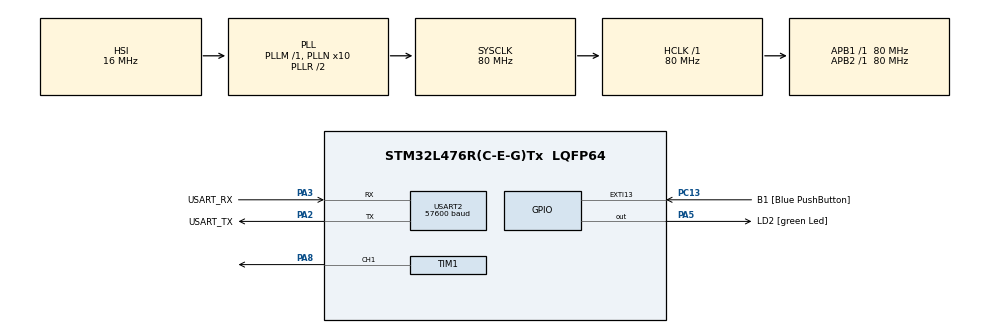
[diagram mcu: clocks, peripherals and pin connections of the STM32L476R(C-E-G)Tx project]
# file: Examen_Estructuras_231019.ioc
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Mcu.Family=STM32L4
Mcu.Name=STM32L476R(C-E-G)Tx
Mcu.Package=LQFP64
NVIC.PriorityGroup=NVIC_PRIORITYGROUP_4
NVIC.USART2_IRQn=true\:0\:0\:false\:false\:true\:true\:true\:true
PA13\ (JTMS-SWDIO).GPIO_Label=TMS
PA13\ (JTMS-SWDIO).Mode=Serial_Wire
PA13\ (JTMS-SWDIO).Signal=SYS_JTMS-SWDIO
PA14\ (JTCK-SWCLK).GPIO_Label=TCK
PA14\ (JTCK-SWCLK).Mode=Serial_Wire
PA14\ (JTCK-SWCLK).Signal=SYS_JTCK-SWCLK
PA2.GPIO_Label=USART_TX
PA2.GPIO_Mode=GPIO_MODE_AF_PP
PA2.GPIO_PuPd=GPIO_NOPULL
PA2.GPIO_Speed=GPIO_SPEED_FREQ_VERY_HIGH
PA2.Mode=Asynchronous
PA2.Signal=USART2_TX
PA3.GPIO_Label=USART_RX
PA3.GPIO_Mode=GPIO_MODE_AF_PP
PA3.GPIO_PuPd=GPIO_NOPULL
PA3.GPIO_Speed=GPIO_SPEED_FREQ_VERY_HIGH
PA3.Mode=Asynchronous
PA3.Signal=USART2_RX
PA5.GPIO_Label=LD2 [green Led]
PA5.GPIO_ModeDefaultOutputPP=GPIO_MODE_OUTPUT_PP
PA5.GPIO_PuPd=GPIO_NOPULL
PA5.GPIO_Speed=GPIO_SPEED_FREQ_LOW
PA5.Signal=GPIO_Output
PA8.Signal=S_TIM1_CH1
PB3\ (JTDO-TRACESWO).GPIO_Label=SWO
PB3\ (JTDO-TRACESWO).Signal=SYS_JTDO-SWO
PC13.GPIO_Label=B1 [Blue PushButton]
PC13.GPIO_ModeDefaultEXTI=GPIO_MODE_IT_FALLING
PC13.GPIO_PuPd=GPIO_NOPULL
PC13.Signal=GPXTI13
PC14-OSC32_IN\ (PC14).Mode=LSE-External-Oscillator
PC14-OSC32_IN\ (PC14).Signal=RCC_OSC32_IN
PC15-OSC32_OUT\ (PC15).Mode=LSE-External-Oscillator
PC15-OSC32_OUT\ (PC15).Signal=RCC_OSC32_OUT
PH0-OSC_IN\ (PH0).Signal=RCC_OSC_IN
PH1-OSC_OUT\ (PH1).Signal=RCC_OSC_OUT
ProjectManager.HeapSize=0x200
ProjectManager.StackSize=0x400
ProjectManager.TargetToolchain=STM32CubeIDE
RCC.ADCFreq_Value=64000000
RCC.AHBFreq_Value=80000000
RCC.APB1Freq_Value=80000000
RCC.APB1TimFreq_Value=80000000
RCC.APB2Freq_Value=80000000
RCC.APB2TimFreq_Value=80000000
RCC.CortexFreq_Value=80000000
RCC.HCLKFreq_Value=80000000
RCC.HSE_VALUE=8000000
RCC.HSI_VALUE=16000000
RCC.MSI_VALUE=4000000
RCC.PLLN=10
RCC.PLLSourceVirtual=RCC_PLLSOURCE_HSI
RCC.PREFETCH_ENABLE=1
RCC.SYSCLKFreq_VALUE=80000000
RCC.SYSCLKSource=RCC_SYSCLKSOURCE_PLLCLK
RCC.USBFreq_Value=64000000
RCC.VCOOutputFreq_Value=160000000
SH.S_TIM1_CH1.0=TIM1_CH1,PWM Generation1 CH1
TIM1.Channel-PWM\ Generation1\ CH1=TIM_CHANNEL_1
USART2.BaudRate=57600
USART2.VirtualMode-Asynchronous=VM_ASYNC
board=NUCLEO-L476RG

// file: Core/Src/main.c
/* USER CODE BEGIN Header */
/**
  ******************************************************************************
  * @file           : main.c
  * @brief          : Main program body
  ******************************************************************************
  * @attention
  *
  * Copyright (c) 2023 STMicroelectronics.
  * All rights reserved.
  *
  * This software is licensed under terms that can be found in the LICENSE file
  * in the root directory of this software component.
  * If no LICENSE file comes with this software, it is provided AS-IS.
  *
  ******************************************************************************
  */
/* USER CODE END Header */
#include "main.h"

/* USER CODE BEGIN Includes */
#include <stdio.h>
/* USER CODE END Includes */

TIM_HandleTypeDef htim1;

UART_HandleTypeDef huart2;

/* USER CODE BEGIN PV */

uint8_t number;
uint8_t rx_buffer[2];
int16_t dutyCycle = 0;
/* USER CODE END PV */

void SystemClock_Config(void);
static void MX_GPIO_Init(void);
static void MX_USART2_UART_Init(void);
static void MX_TIM1_Init(void);

/* USER CODE BEGIN 0 */

void HAL_UART_RxCpltCallback(UART_HandleTypeDef *huart)
{
	HAL_UART_Receive_IT(&huart2, rx_buffer, 2); //restart the interrupt reception mode
}

/* USER CODE END 0 */

int main(void)
{

  /* MCU Configuration--------------------------------------------------------*/

  /* Reset of all peripherals, Initializes the Flash interface and the Systick. */
  HAL_Init();

  /* Configure the system clock */
  SystemClock_Config();

  /* Initialize all configured peripherals */
  MX_GPIO_Init();
  MX_USART2_UART_Init();
  MX_TIM1_Init();
  /* USER CODE BEGIN 2 */

  HAL_UART_Receive_IT(&huart2, rx_buffer, 2);

  TIM1->CCR1 = 50; // To set the compare channel 1
  HAL_TIM_PWM_Start(&htim1, TIM_CHANNEL_1);

  /* USER CODE END 2 */

  /* Infinite loop */
  /* USER CODE BEGIN WHILE */
  while (1)
  {
/*	  number = (rx_buffer[0] - 48) + ((rx_buffer[1] - 48)*10);
	  printf("Received number is: %d\r\n", number);
	  HAL_Delay(1000);

	  if (number <100) {

		  	dutyCycle = number;
		  	TIM1->CCR1 = dutyCycle;
		  	HAL_Delay(1);

	}      */

  while(dutyCycle < 65535)
	  	        {
	  	            TIM1->CCR1 = dutyCycle;
	  	            dutyCycle += 100;
	  	            HAL_Delay(1);
	  	        }
	  while(dutyCycle > 0)
	  	        {
	  	            TIM1->CCR1 = dutyCycle;
	  	            dutyCycle -= 100;
	  	            HAL_Delay(1);
	  	        }                  // test PWM mode

    /* USER CODE END WHILE */

  }
}

void SystemClock_Config(void)
{
  RCC_OscInitTypeDef RCC_OscInitStruct = {0};
  RCC_ClkInitTypeDef RCC_ClkInitStruct = {0};

  /** Configure the main internal regulator output voltage
  */
  if (HAL_PWREx_ControlVoltageScaling(PWR_REGULATOR_VOLTAGE_SCALE1) != HAL_OK)
  {
    Error_Handler();
  }

  /** Initializes the RCC Oscillators according to the specified parameters
  * in the RCC_OscInitTypeDef structure.
  */
  RCC_OscInitStruct.OscillatorType = RCC_OSCILLATORTYPE_HSI;
  RCC_OscInitStruct.HSIState = RCC_HSI_ON;
  RCC_OscInitStruct.HSICalibrationValue = RCC_HSICALIBRATION_DEFAULT;
  RCC_OscInitStruct.PLL.PLLState = RCC_PLL_ON;
  RCC_OscInitStruct.PLL.PLLSource = RCC_PLLSOURCE_HSI;
  RCC_OscInitStruct.PLL.PLLM = 1;
  RCC_OscInitStruct.PLL.PLLN = 10;
  RCC_OscInitStruct.PLL.PLLP = RCC_PLLP_DIV7;
  RCC_OscInitStruct.PLL.PLLQ = RCC_PLLQ_DIV2;
  RCC_OscInitStruct.PLL.PLLR = RCC_PLLR_DIV2;
  if (HAL_RCC_OscConfig(&RCC_OscInitStruct) != HAL_OK)
  {
    Error_Handler();
  }

  /** Initializes the CPU, AHB and APB buses clocks
  */
  RCC_ClkInitStruct.ClockType = RCC_CLOCKTYPE_HCLK|RCC_CLOCKTYPE_SYSCLK
                              |RCC_CLOCKTYPE_PCLK1|RCC_CLOCKTYPE_PCLK2;
  RCC_ClkInitStruct.SYSCLKSource = RCC_SYSCLKSOURCE_PLLCLK;
  RCC_ClkInitStruct.AHBCLKDivider = RCC_SYSCLK_DIV1;
  RCC_ClkInitStruct.APB1CLKDivider = RCC_HCLK_DIV1;
  RCC_ClkInitStruct.APB2CLKDivider = RCC_HCLK_DIV1;

  if (HAL_RCC_ClockConfig(&RCC_ClkInitStruct, FLASH_LATENCY_4) != HAL_OK)
  {
    Error_Handler();
  }
}

static void MX_TIM1_Init(void)
{

  TIM_MasterConfigTypeDef sMasterConfig = {0};
  TIM_OC_InitTypeDef sConfigOC = {0};
  TIM_BreakDeadTimeConfigTypeDef sBreakDeadTimeConfig = {0};

  htim1.Instance = TIM1;
  htim1.Init.Prescaler = 0;
  htim1.Init.CounterMode = TIM_COUNTERMODE_UP;
  htim1.Init.Period = 65535;
  htim1.Init.ClockDivision = TIM_CLOCKDIVISION_DIV1;
  htim1.Init.RepetitionCounter = 0;
  htim1.Init.AutoReloadPreload = TIM_AUTORELOAD_PRELOAD_DISABLE;
  if (HAL_TIM_PWM_Init(&htim1) != HAL_OK)
  {
    Error_Handler();
  }
  sMasterConfig.MasterOutputTrigger = TIM_TRGO_RESET;
  sMasterConfig.MasterOutputTrigger2 = TIM_TRGO2_RESET;
  sMasterConfig.MasterSlaveMode = TIM_MASTERSLAVEMODE_DISABLE;
  if (HAL_TIMEx_MasterConfigSynchronization(&htim1, &sMasterConfig) != HAL_OK)
  {
    Error_Handler();
  }
  sConfigOC.OCMode = TIM_OCMODE_PWM1;
  sConfigOC.Pulse = 0;
  sConfigOC.OCPolarity = TIM_OCPOLARITY_HIGH;
  sConfigOC.OCNPolarity = TIM_OCNPOLARITY_HIGH;
  sConfigOC.OCFastMode = TIM_OCFAST_DISABLE;
  sConfigOC.OCIdleState = TIM_OCIDLESTATE_RESET;
  sConfigOC.OCNIdleState = TIM_OCNIDLESTATE_RESET;
  if (HAL_TIM_PWM_ConfigChannel(&htim1, &sConfigOC, TIM_CHANNEL_1) != HAL_OK)
  {
    Error_Handler();
  }
  sBreakDeadTimeConfig.OffStateRunMode = TIM_OSSR_DISABLE;
  sBreakDeadTimeConfig.OffStateIDLEMode = TIM_OSSI_DISABLE;
  sBreakDeadTimeConfig.LockLevel = TIM_LOCKLEVEL_OFF;
  sBreakDeadTimeConfig.DeadTime = 0;
  sBreakDeadTimeConfig.BreakState = TIM_BREAK_DISABLE;
  sBreakDeadTimeConfig.BreakPolarity = TIM_BREAKPOLARITY_HIGH;
  sBreakDeadTimeConfig.BreakFilter = 0;
  sBreakDeadTimeConfig.Break2State = TIM_BREAK2_DISABLE;
  sBreakDeadTimeConfig.Break2Polarity = TIM_BREAK2POLARITY_HIGH;
  sBreakDeadTimeConfig.Break2Filter = 0;
  sBreakDeadTimeConfig.AutomaticOutput = TIM_AUTOMATICOUTPUT_DISABLE;
  if (HAL_TIMEx_ConfigBreakDeadTime(&htim1, &sBreakDeadTimeConfig) != HAL_OK)
  {
    Error_Handler();
  }
  HAL_TIM_MspPostInit(&htim1);

}

static void MX_USART2_UART_Init(void)
{

  huart2.Instance = USART2;
  huart2.Init.BaudRate = 57600;
  huart2.Init.WordLength = UART_WORDLENGTH_8B;
  huart2.Init.StopBits = UART_STOPBITS_1;
  huart2.Init.Parity = UART_PARITY_NONE;
  huart2.Init.Mode = UART_MODE_TX_RX;
  huart2.Init.HwFlowCtl = UART_HWCONTROL_NONE;
  huart2.Init.OverSampling = UART_OVERSAMPLING_16;
  huart2.Init.OneBitSampling = UART_ONE_BIT_SAMPLE_DISABLE;
  huart2.AdvancedInit.AdvFeatureInit = UART_ADVFEATURE_NO_INIT;
  if (HAL_UART_Init(&huart2) != HAL_OK)
  {
    Error_Handler();
  }

}

static void MX_GPIO_Init(void)
{
  GPIO_InitTypeDef GPIO_InitStruct = {0};

  /* GPIO Ports Clock Enable */
  __HAL_RCC_GPIOC_CLK_ENABLE();
  __HAL_RCC_GPIOH_CLK_ENABLE();
  __HAL_RCC_GPIOA_CLK_ENABLE();
  __HAL_RCC_GPIOB_CLK_ENABLE();

  /*Configure GPIO pin Output Level */
  HAL_GPIO_WritePin(LD2_GPIO_Port, LD2_Pin, GPIO_PIN_RESET);

  /*Configure GPIO pin : B1_Pin */
  GPIO_InitStruct.Pin = B1_Pin;
  GPIO_InitStruct.Mode = GPIO_MODE_IT_FALLING;
  GPIO_InitStruct.Pull = GPIO_NOPULL;
  HAL_GPIO_Init(B1_GPIO_Port, &GPIO_InitStruct);

  /*Configure GPIO pin : LD2_Pin */
  GPIO_InitStruct.Pin = LD2_Pin;
  GPIO_InitStruct.Mode = GPIO_MODE_OUTPUT_PP;
  GPIO_InitStruct.Pull = GPIO_NOPULL;
  GPIO_InitStruct.Speed = GPIO_SPEED_FREQ_LOW;
  HAL_GPIO_Init(LD2_GPIO_Port, &GPIO_InitStruct);

}

void Error_Handler(void)
{
  __disable_irq();
  while (1)
  {
  }
}
